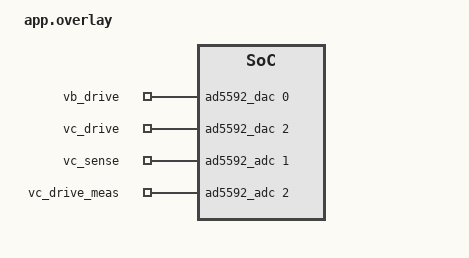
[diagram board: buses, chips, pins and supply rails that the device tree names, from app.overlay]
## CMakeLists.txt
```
# SPDX-License-Identifier: Apache-2.0

cmake_minimum_required(VERSION 3.20.0)

# This sample is specific to the adi_lsmspg shield.
set(SHIELD adi_lsmspg)

find_package(Zephyr REQUIRED HINTS $ENV{ZEPHYR_BASE})
project(adi_lsmspg_curve_tracer)

target_sources(app PRIVATE src/main.c)
```

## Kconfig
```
# Copyright (c) 2026 Analog Devices, Inc
# SPDX-License-Identifier: Apache-2.0

menu "ADALM-LSMSPG curve tracer"

config CURVE_TRACER_RSENSE_MOHM
	int "Collector sense resistor (milliohm)"
	default 49900
	help
	  Rsense_npn on the ADALM-LSMSPG schematic is 49.9 ohm. The no-OS
	  example uses 47 ohm (47000).

config CURVE_TRACER_RBASE_OHM
	int "Base resistor (ohm)"
	default 49900
	help
	  Rbase_npn on the ADALM-LSMSPG schematic is 49.9 kohm. The no-OS
	  example uses 47 kohm (47000).

endmenu

source "Kconfig.zephyr"
```

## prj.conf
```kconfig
CONFIG_ADC=y
CONFIG_DAC=y
CONFIG_CBPRINTF_FP_SUPPORT=y
CONFIG_SHELL=y
CONFIG_SHELL_STACK_SIZE=4096
CONFIG_ADC_AD559X_ACQUISITION_THREAD_STACK_SIZE=768
```

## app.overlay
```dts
/*
 * Copyright (c) 2026 Analog Devices, Inc
 *
 * SPDX-License-Identifier: Apache-2.0
 */

/ {
	zephyr,user {
		io-channels = <&ad5592_dac 0>, <&ad5592_dac 2>,
			      <&ad5592_adc 1>, <&ad5592_adc 2>;
		io-channel-names = "vb_drive", "vc_drive",
				   "vc_sense", "vc_drive_meas";
	};
};
```

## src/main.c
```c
/*
 * Copyright (c) 2026 Analog Devices, Inc
 *
 * SPDX-License-Identifier: Apache-2.0
 */

/*
 * ADALM-LSMSPG AD5592R NPN curve tracer.
 *
 * Port of no-OS projects/adalm-lsmspg curvetrace_example (AD5592R part).
 */

#include <string.h>

#include <zephyr/kernel.h>
#include <zephyr/device.h>
#include <zephyr/drivers/adc.h>
#include <zephyr/drivers/dac.h>
#include <zephyr/shell/shell.h>
#include <zephyr/sys/printk.h>

#define NUM_CURVES 5
#define NUM_POINTS 50

#define VB_START_MV 499
#define VB_STEP_MV  500
#define VC_START_MV 0
#define VC_STEP_MV  50

#define BASE_SETTLE_MS  50
#define POINT_SETTLE_MS 10

#define GRAPH_HEIGHT 20
#define GRAPH_WIDTH  60

#define RESOLUTION_BITS 12

#define RSENSE_OHM (CONFIG_CURVE_TRACER_RSENSE_MOHM / 1000.0f)
#define RBASE_OHM  ((float)CONFIG_CURVE_TRACER_RBASE_OHM)
#define VBE_V      0.7f

#define USER_NODE DT_PATH(zephyr_user)

static const struct dac_dt_spec vb_drive = DAC_DT_SPEC_GET_BY_NAME(USER_NODE, vb_drive);
static const struct dac_dt_spec vc_drive = DAC_DT_SPEC_GET_BY_NAME(USER_NODE, vc_drive);
static const struct adc_dt_spec vc_sense = ADC_DT_SPEC_GET_BY_NAME(USER_NODE, vc_sense);
static const struct adc_dt_spec vc_drive_meas = ADC_DT_SPEC_GET_BY_NAME(USER_NODE, vc_drive_meas);

static float curve_vcs[NUM_CURVES][NUM_POINTS];
static float curve_ics[NUM_CURVES][NUM_POINTS];

static float mv_per_lsb;

static int read_adc(const struct adc_dt_spec *spec, uint16_t *raw)
{
	int16_t sample;
	struct adc_sequence seq = {
		.buffer = &sample,
		.buffer_size = sizeof(sample),
	};
	int ret;

	ret = adc_sequence_init_dt(spec, &seq);
	if (ret) {
		return ret;
	}

	ret = adc_read_dt(spec, &seq);
	if (ret) {
		return ret;
	}

	*raw = (uint16_t)sample & BIT_MASK(RESOLUTION_BITS);

	return 0;
}

static int write_dac_mv(const struct dac_dt_spec *spec, int mv, uint16_t *raw_out)
{
	uint16_t raw = (uint16_t)CLAMP((float)mv / mv_per_lsb, 0, BIT_MASK(RESOLUTION_BITS));

	if (raw_out) {
		*raw_out = raw;
	}

	return dac_write_value_dt(spec, raw);
}

static int setup_channels(void)
{
	const struct dac_dt_spec *dacs[] = {&vb_drive, &vc_drive};
	const struct adc_dt_spec *adcs[] = {&vc_sense, &vc_drive_meas};
	int ret;

	for (size_t i = 0; i < ARRAY_SIZE(dacs); i++) {
		if (!dac_is_ready_dt(dacs[i])) {
			printk("DAC channel %u not ready\n", dacs[i]->channel_id);
			return -ENODEV;
		}
		ret = dac_channel_setup_dt(dacs[i]);
		if (ret) {
			printk("DAC channel %u setup failed: %d\n", dacs[i]->channel_id, ret);
			return ret;
		}
	}

	for (size_t i = 0; i < ARRAY_SIZE(adcs); i++) {
		if (!adc_is_ready_dt(adcs[i])) {
			printk("ADC channel %u not ready\n", adcs[i]->channel_id);
			return -ENODEV;
		}
		ret = adc_channel_setup_dt(adcs[i]);
		if (ret) {
			printk("ADC channel %u setup failed: %d\n", adcs[i]->channel_id, ret);
			return ret;
		}
	}

	/* Same reference/resolution on every AD5592R channel */
	mv_per_lsb = (float)vc_sense.vref_mv / (1 << RESOLUTION_BITS);

	return 0;
}

static void plot_ascii_graph(void)
{
	static char grid[GRAPH_HEIGHT + 2][GRAPH_WIDTH + 3];
	float max_v = 0.0f;
	float max_i = 0.0f;

	for (int y = 0; y < GRAPH_HEIGHT + 2; y++) {
		memset(grid[y], ' ', GRAPH_WIDTH + 2);
		grid[y][0] = '|';
		grid[y][GRAPH_WIDTH + 1] = '|';
		grid[y][GRAPH_WIDTH + 2] = '\0';
	}
	memset(grid[0], '-', GRAPH_WIDTH + 2);
	memset(grid[GRAPH_HEIGHT + 1], '-', GRAPH_WIDTH + 2);
	grid[0][0] = grid[0][GRAPH_WIDTH + 1] = '+';
	grid[GRAPH_HEIGHT + 1][0] = grid[GRAPH_HEIGHT + 1][GRAPH_WIDTH + 1] = '+';

	for (int c = 0; c < NUM_CURVES; c++) {
		for (int p = 0; p < NUM_POINTS; p++) {
			max_v = MAX(max_v, curve_vcs[c][p]);
			max_i = MAX(max_i, curve_ics[c][p]);
		}
	}

	if (max_v < 0.01f) {
		max_v = 1.0f;
	}
	if (max_i < 0.001f) {
		max_i = 0.01f;
	}

	for (int c = 0; c < NUM_CURVES; c++) {
		for (int p = 0; p < NUM_POINTS; p++) {
			int x = 1 + (int)((curve_vcs[c][p] / max_v) * (GRAPH_WIDTH - 1));
			int y = 1 + (int)((curve_ics[c][p] / max_i) * (GRAPH_HEIGHT - 1));

			/* Highest current on the top row */
			y = GRAPH_HEIGHT + 1 - y;

			if (x >= 1 && x <= GRAPH_WIDTH && y >= 1 && y <= GRAPH_HEIGHT) {
				grid[y][x] = '*';
			}
		}
	}

	printk("\n\n=== AD5592R (SPI) - NPN Curve Tracer (Ic vs Vc) ===\n");
	printk("Y-axis: Ic (0 to %.2f mA)\n", (double)max_i);
	printk("X-axis: Vc (0 to %.2f V)\n\n", (double)max_v);

	for (int y = 0; y < GRAPH_HEIGHT + 2; y++) {
		printk("%s\n", grid[y]);
	}

	printk("0.0");
	for (int k = 1; k <= 5; k++) {
		printk("       %.2f", (double)(max_v / 5.0f * k));
	}
	printk(" V\n\n===== AD5592R Curve Trace Complete =====\n\n");
}

static int curve_trace(void)
{
	uint16_t vb_raw, vc_sense_raw, vc_meas_raw;
	int64_t start = k_uptime_get();
	int ret;

	printk("\n========== AD5592R (SPI) NPN Curve Tracer ==========\n");
	printk("Vref: %u mV, Scale: %.4f mV/LSB, Rsense: %.1f ohm, Rbase: %.0f ohm\n",
	       vc_sense.vref_mv, (double)mv_per_lsb, (double)RSENSE_OHM, (double)RBASE_OHM);

	ret = write_dac_mv(&vb_drive, 500, NULL);
	ret = ret ? ret : write_dac_mv(&vc_drive, 500, NULL);
	if (ret) {
		printk("Failed to initialize DACs: %d\n", ret);
		return ret;
	}

	printk("\nStarting sweep...\n");

	for (int ci = 0; ci < NUM_CURVES; ci++) {
		ret = write_dac_mv(&vb_drive, VB_START_MV + ci * VB_STEP_MV, &vb_raw);
		if (ret) {
			printk("Failed to write base DAC: %d\n", ret);
			goto out;
		}

		k_msleep(BASE_SETTLE_MS);

		float vb = vb_raw * mv_per_lsb / 1000.0f;
		float ib = (vb - VBE_V) / RBASE_OHM;

		printk("Base Drive: %.4f V, %.3f uA\n", (double)vb, (double)(ib * 1e6f));

		for (int pi = 0; pi < NUM_POINTS; pi++) {
			ret = write_dac_mv(&vc_drive, VC_START_MV + pi * VC_STEP_MV, NULL);
			if (ret) {
				printk("Failed to write collector DAC: %d\n", ret);
				goto out;
			}

			k_msleep(POINT_SETTLE_MS);

			ret = read_adc(&vc_sense, &vc_sense_raw);
			ret = ret ? ret : read_adc(&vc_drive_meas, &vc_meas_raw);
			if (ret) {
				printk("Failed to read ADC: %d\n", ret);
				goto out;
			}

			/* mV / ohm = mA */
			float ic = ((int)vc_meas_raw - (int)vc_sense_raw) * mv_per_lsb / RSENSE_OHM;
			float vc = vc_sense_raw * mv_per_lsb / 1000.0f;

			curve_vcs[ci][pi] = vc;
			curve_ics[ci][pi] = ic;

			printk("  coll voltage: %.4f V  coll current: %.4f mA\n", (double)vc,
			       (double)ic);
		}
	}

	plot_ascii_graph();

	printk("Sweep took %lld ms\n", k_uptime_get() - start);

out:
	/* Leave the transistor unbiased */
	write_dac_mv(&vb_drive, 0, NULL);
	write_dac_mv(&vc_drive, 0, NULL);

	return ret;
}

static int cmd_curvetrace(const struct shell *sh, size_t argc, char **argv)
{
	ARG_UNUSED(sh);
	ARG_UNUSED(argc);
	ARG_UNUSED(argv);

	return curve_trace();
}

SHELL_CMD_REGISTER(curvetrace, NULL, "Run the AD5592R NPN curve trace", cmd_curvetrace);

int main(void)
{
	int ret;

	printk("ADALM-LSMSPG AD5592R curve tracer on %s\n", CONFIG_BOARD_TARGET);

	ret = setup_channels();
	if (ret) {
		return ret;
	}

	printk("Type 'curvetrace' to run a trace\n");

	return 0;
}
```
